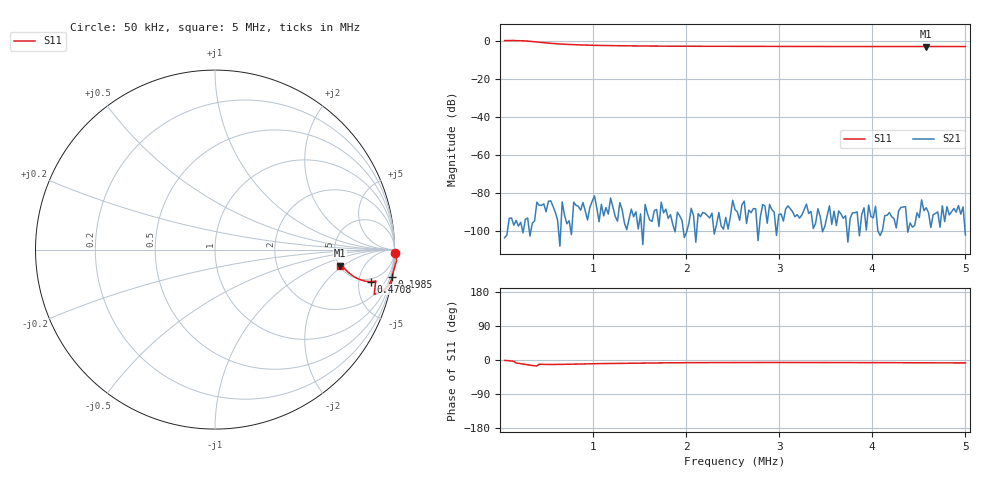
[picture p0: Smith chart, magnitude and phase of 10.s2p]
! NanoVNA-App by OneOfEleven et al v1.1.209 (+OD15)
! Date: 2024-07-30 12:37:16
! Start: 50kHz Stop: 5MHz Points: 201
! S-Parameter data: F S11 S21 S12 S22
# Hz S RI R 50
!  Frequency  S11_Real  S11_Imag  S21_Real  S21_Imag  S12_Real  S12_Imag  S22_Real  S22_Imag
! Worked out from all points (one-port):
!   201 points, 50 kHz to 5 MHz, reference 50 ohm
!   lowest |S11| = -3.1 dB at 4.579 MHz (marker M1), VSWR 5.69, Z = 252 - j88.7 ohm
!   |S11| at or under -10 dB: nowhere
!   S11 on the Smith chart (normalised r, x): 50 kHz: open; 198.5 kHz: 0, -13; 470.8 kHz: 4.36, -7.24; 5 MHz: 4.99, -1.84
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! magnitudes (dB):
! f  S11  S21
! 50 kHz  0.0  -103.5
! 74.75 kHz  0.0  -102.0
! 149 kHz  0.1  -96.9
! 173.8 kHz  0.0  -94.4
! 198.5 kHz  0.0  -97.3
! 248 kHz  -0.1  -100.9
! 297.5 kHz  -0.2  -93.1
! 470.8 kHz  -1.1  -85.7
! 569.8 kHz  -1.5  -86.9
! 668.8 kHz  -1.8  -84.6
! 792.5 kHz  -2.1  -84.8
! 891.5 kHz  -2.3  -84.9
! 1.04 MHz  -2.5  -87.8
! 1.263 MHz  -2.7  -94.8
! 1.51 MHz  -2.8  -90.9
! 1.708 MHz  -2.9  -97.5
! 2.104 MHz  -3.0  -105.8
! 2.525 MHz  -3.0  -88.7
! 3.366 MHz  -3.1  -98.6
! 4.183 MHz  -3.1  -90.2
! 4.579 MHz  -3.1  -87.7
! 5 MHz  -3.1  -102.0
